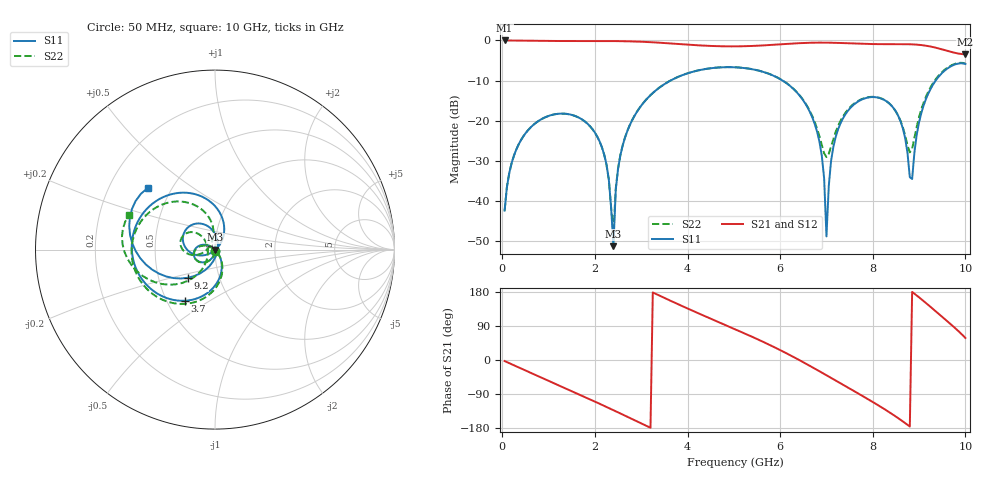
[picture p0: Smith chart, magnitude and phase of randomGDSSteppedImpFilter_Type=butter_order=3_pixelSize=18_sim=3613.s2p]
! freq	dB(S11)	phase(S11)	dB(S12)	phase(S12)
!  dB(S21)	phase(S21)	dB(S22)	phase(S22)
!S-par simulation data
#  GHz  S  DB  R 50
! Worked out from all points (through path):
!   200 points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, 50 MHz to 10 GHz, reference 50 ohm
!   highest |S21| = 0.00 dB at 50 MHz (marker M1); lowest = -3.5 dB at 10 GHz (marker M2)
!   group delay of S21, straight-line fit = 173 ps
!   lowest |S11| = -51.3 dB at 2.4 GHz (marker M3), VSWR 1.01, Z = 50.3 - j0.1 ohm
!   |S11| at or under -10 dB: start of sweep to 3.634 GHz; 6.052 GHz to 9.36 GHz (3.307 GHz wide, 42.9 % of centre)
!   |S22| runs from -48.1 to -5.6 dB; largest |S21 - S12| = 0
!   S11 on the Smith chart (normalised r, x): 50 MHz: 1.00, -0.02; 3.7 GHz: 0.62, -0.39; 9.2 GHz: 0.71, -0.23; 10 GHz: 0.37, +0.34
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0.05  -42.43 -91.2  -0.00 -2.8  -0.00 -2.8  -42.43 -91.2
0.2  -30.66 -100.8  -0.02 -11.1  -0.02 -11.1  -30.66 -100.5
0.55  -22.46 -121.2  -0.07 -30.4  -0.07 -30.4  -22.46 -120.3
1.75  -19.92 171.9  -0.16 -95.9  -0.16 -95.9  -19.93 175.4
2.2  -28.44 145.5  -0.15 -121.0  -0.15 -121.0  -28.48 153.1
2.3  -34.65 138.4  -0.15 -126.7  -0.15 -126.7  -34.71 151.6
2.4  -51.30 -21.5  -0.16 -132.4  -0.16 -132.4  -48.08 -88.8
2.45  -37.27 -44.3  -0.17 -135.3  -0.17 -135.3  -36.96 -55.0
2.6  -26.18 -55.5  -0.19 -144.0  -0.19 -144.0  -26.11 -56.1
3.4  -11.70 -103.3  -0.57 169.6  -0.57 169.6  -11.68 -99.0
3.7  -9.60 -120.6  -0.80 152.5  -0.80 152.5  -9.59 -115.4
5.05  -6.71 165.6  -1.48 80.0  -1.48 80.0  -6.70 175.3
6.7  -19.36 62.0  -0.57 -19.5  -0.57 -19.5  -19.02 94.6
6.9  -28.80 45.3  -0.54 -33.3  -0.54 -33.3  -26.10 108.3
7  -48.86 -35.7  -0.55 -40.2  -0.55 -40.2  -29.09 146.0
7.1  -30.01 -141.6  -0.57 -47.2  -0.57 -47.2  -26.41 -176.9
7.3  -20.76 -159.0  -0.64 -61.2  -0.64 -61.2  -20.11 -163.4
8.35  -15.64 118.6  -0.93 -137.3  -0.93 -137.3  -15.65 143.7
8.65  -21.95 87.1  -0.92 -162.1  -0.92 -162.1  -21.69 136.4
8.85  -34.55 -48.7  -0.97 179.8  -0.97 179.8  -27.03 -153.1
9.2  -13.22 -134.0  -1.42 145.1  -1.42 145.1  -12.73 -131.1
10  -5.88 137.5  -3.46 58.1  -3.46 58.1  -5.76 158.1
